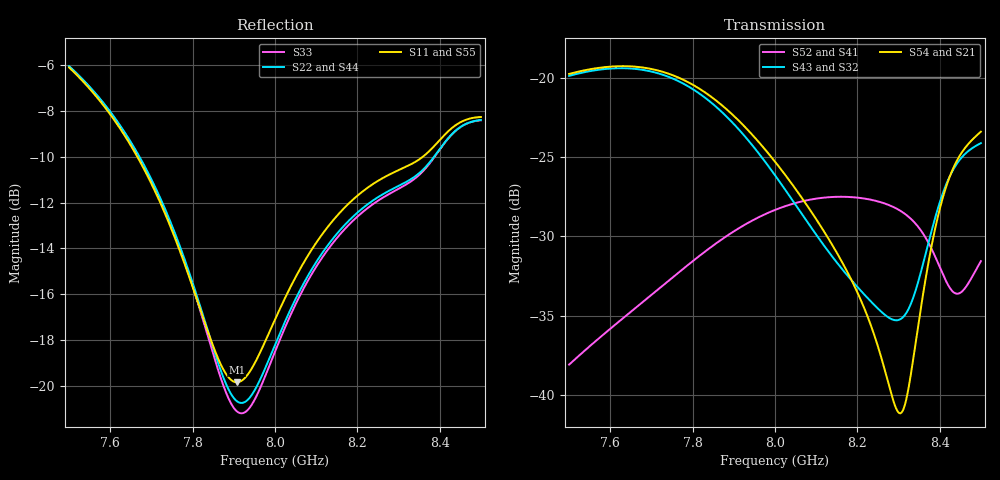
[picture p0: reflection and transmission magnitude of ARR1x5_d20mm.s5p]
! Touchstone file exported from HFSS 2025.1.0
!  File:  C:/Users/user/Documents/Ansoft/TFG_UWB-MIMO-Array.aedt
!  Generated:  04:10:10 PM Nov 20, 2026
!  Design:  ARR1x5_US3_PS6_4_dparam
!  Project:  TFG_UWB-MIMO-Array
!  Setup:  Setup_ch9
!  Solution:  Sweep_7p5_8p5
! Variables:
!  arr_d = 20mm
!  board_m = 13mm
!  board_x = 106mm
!  board_y = 26mm
!  cu_t = 0.035mm
!  line_w = 3.92mm
!  pad_xy = 22mm
!  pad_zn = 25mm
!  pad_zp = 33mm
!  par_L = 7.05mm
!  par_W = 13.58mm
!  par_yc = 0.615mm
!  par_z = 1.035mm
!  patch_L = 6.29mm
!  patch_W = 14mm
!  sub_h = 2.07mm
!  tr_l = 7.25mm
!  tr_w = 1mm
!  u_Lu = 2.65mm
!  u_Wu = 4.4mm
!  u_t = 0.8mm
!  u_y0 = -0.7mm
# GHz S MA R 50.000000
! Terminal data exported
! Port[1] = P1
! Port[2] = P2
! Port[3] = P3
! Port[4] = P4
! Port[5] = P5
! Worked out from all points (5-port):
!   1001 points, 7.5 GHz to 8.5 GHz, reference 50 ohm
!   strongest paths, dB at 7.5 GHz, 7.75 GHz, 8 GHz, 8.25 GHz, 8.5 GHz:
!     S54: -19.8, -19.8, -25.3, -36.9, -23.4
!     S21: -19.8, -19.8, -25.3, -37.0, -23.4
!     S43: -19.9, -20.0, -26.2, -34.6, -24.1
!     S32: -19.9, -20.0, -26.1, -34.5, -24.1
!     S52: -38.1, -32.6, -28.3, -27.8, -31.6
!     S41: -38.1, -32.7, -28.4, -27.8, -31.5
!   lowest |S11| = -19.8 dB at 7.907 GHz (marker M1), VSWR 1.23, Z = 60.2 - j4.71 ohm
!   |S11| at or under -10 dB: 7.665 GHz to 8.359 GHz (693.9 MHz wide, 8.66 % of centre)
